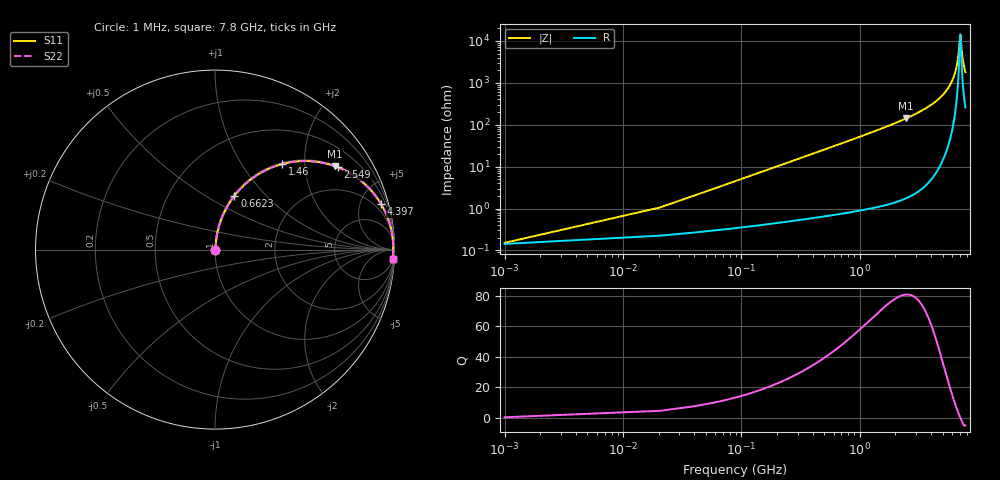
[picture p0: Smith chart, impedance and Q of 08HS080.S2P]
! Coilcraft 0805HS-080 Chip Inductor
! 13 June 2002
# MHZ S MA R 50
!Freq  MagS11  AngS11  MagS21  AngS21  MagS12  AngS12  MagS22  AngS22
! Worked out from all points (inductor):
!   402 points, 1 MHz to 7.8 GHz, reference 50 ohm
!   read as one part in series: L = 8.05 nH near 39.9 MHz
!   highest Q = 80.6 at 2.471 GHz (marker M1), where L = 9.17 nH
!   self-resonance near 7.061 GHz
!   S11 on the Smith chart (normalised r, x): 1 MHz: 1.00, +0.00; 662.3 MHz: 1.01, +0.68; 1.46 GHz: 1.02, +1.54; 2.549 GHz: 1.04, +2.96; 4.397 GHz: 1.14, +7.25; 7.8 GHz: 6, -36
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1  0.001518 19.4  0.9986 -0.0  0.9986 -0.0  0.001518 19.4
59.35  0.03007 82.6  0.9966 -1.7  0.9966 -1.7  0.03007 82.6
98.25  0.04959 83.1  0.9953 -2.8  0.9953 -2.8  0.04959 83.1
156.6  0.07878 82.5  0.9928 -4.5  0.9928 -4.5  0.07878 82.5
351.1  0.1744 78.2  0.9792 -10.0  0.9792 -10.0  0.1744 78.2
662.3  0.3181 70.2  0.9412 -18.5  0.9412 -18.5  0.3181 70.2
1304.15  0.56 55.1  0.82 -34.1  0.82 -34.1  0.56 55.1
1459.75  0.6065 51.8  0.7864 -37.3  0.7864 -37.3  0.6065 51.8
2471.15  0.8136 34.8  0.5714 -54.4  0.5714 -54.4  0.8136 34.8
2548.95  0.8242 33.8  0.5561 -55.5  0.5561 -55.5  0.8242 33.8
2607.3  0.8318 33.0  0.5449 -56.3  0.5449 -56.3  0.8318 33.0
3910.45  0.939 19.2  0.3294 -69.9  0.3294 -69.9  0.939 19.2
4396.7  0.9593 15.3  0.2645 -73.6  0.2645 -73.6  0.9593 15.3
5213.6  0.9802 9.8  0.1695 -78.4  0.1695 -78.4  0.9802 9.8
5991.6  0.9899 5.3  0.09211 -81.1  0.09211 -81.1  0.9899 5.3
6516.75  0.9926 2.6  0.04561 -79.4  0.04561 -79.4  0.9926 2.6
6789.05  0.9931 1.3  0.02337 -72.2  0.02337 -72.2  0.9931 1.3
7061.35  0.993 0.0  0.006982 -4.6  0.006982 -4.6  0.993 0.0
7119.7  0.993 -0.2  0.008091 29.4  0.008091 29.4  0.993 -0.2
7275.3  0.9926 -0.9  0.01756 64.8  0.01756 64.8  0.9926 -0.9
7411.45  0.9923 -1.5  0.02731 72.8  0.02731 72.8  0.9923 -1.5
7800  0.9906 -3.1  0.0552 78.6  0.0552 78.6  0.9906 -3.1
